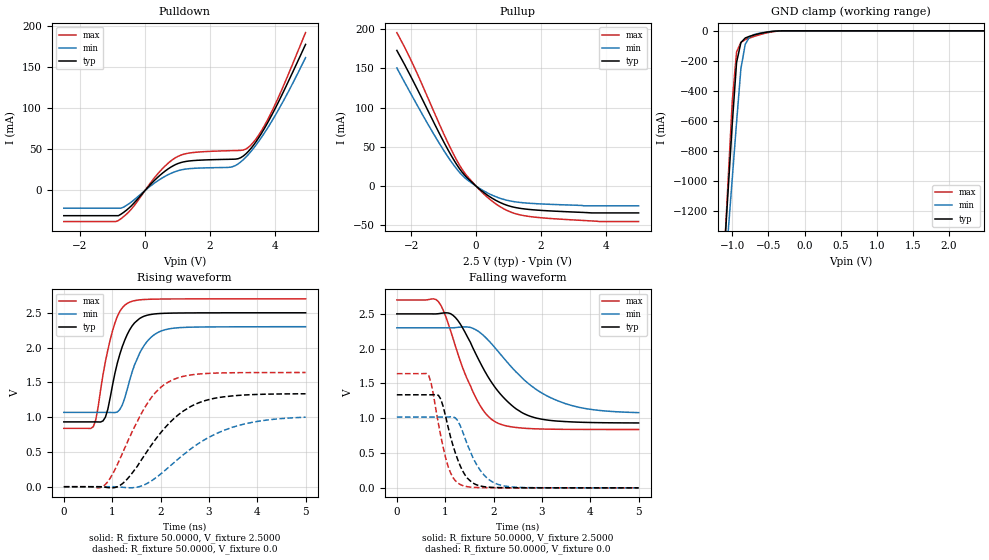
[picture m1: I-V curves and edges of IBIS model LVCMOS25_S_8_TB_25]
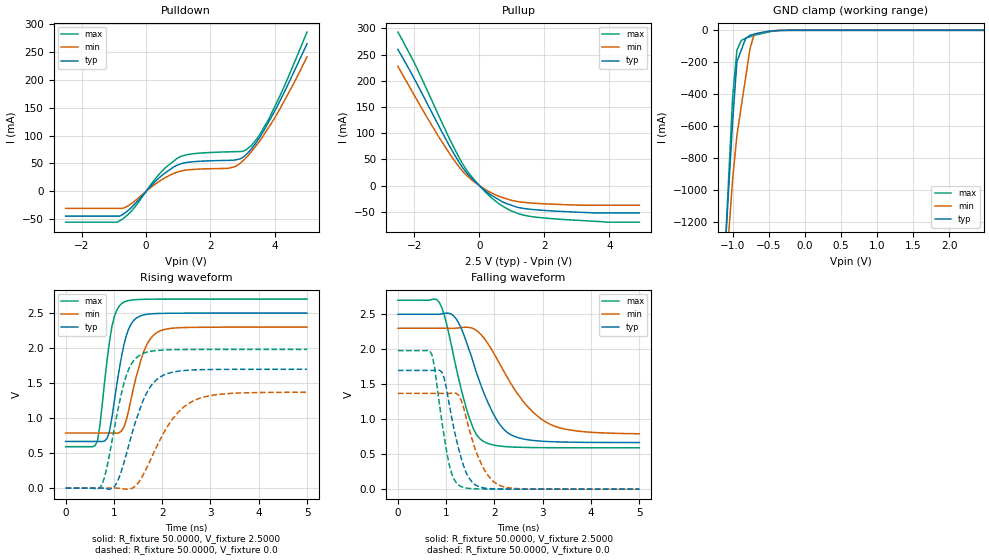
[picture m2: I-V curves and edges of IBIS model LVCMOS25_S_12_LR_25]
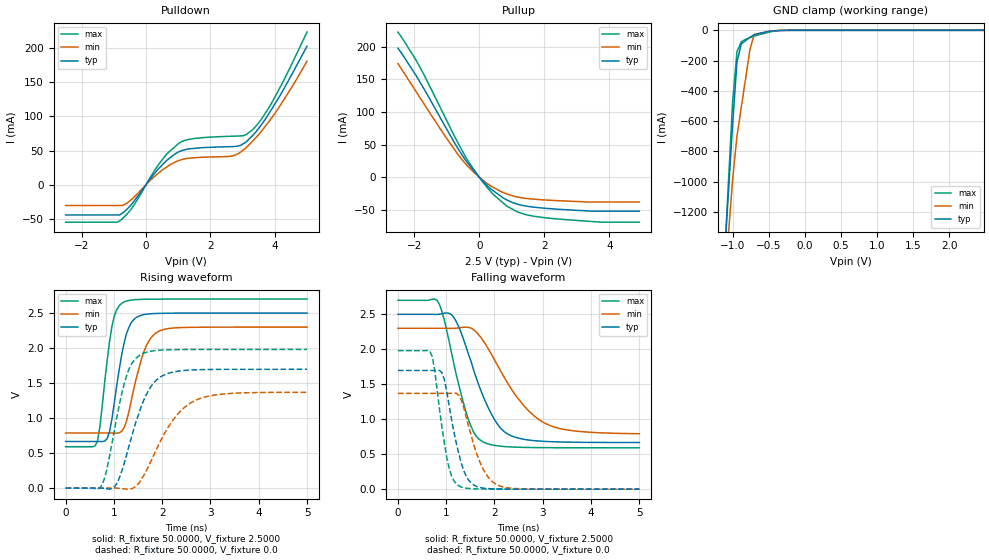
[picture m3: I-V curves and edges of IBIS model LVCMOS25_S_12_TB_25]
| / 7\'7
| \ \   Xilinx Inc.
| / /
| \_\/.\   IBIS Models for SPARTAN-6
[IBIS ver]   4.2
[File name]   LearningNetwork.ibs
[File Rev]   1.3
[Date]   Thu March 09 19:47:08 2017
[Source]   Derived from spice models, rev0.21, using
   hspice 2007.12
[Notes]   Xilinx IBIS file for SPARTAN-6 I/O standards.
   All models are preliminary.
   The version of IBISCHK used is ibischk4.
   Ibis models were generated using S2IBIS3.
[Disclaimer] The data in this file is derived from SPICE simulations using
                 modeling information extracted from the target process. While
                 a great deal of care has been taken to provide information
                 that is accurate, this model is considered preliminary as it
                 has not been verified by actual silicon measurement. Treat the
                 data in this model as preliminary until actual silicon
                 verification is performed.
[Copyright]   Copyright 2009, 2010, Xilinx Inc., All rights reserved
|   Component SPARTAN-6
[Component]   SPARTAN-6
[Manufacturer]   Xilinx Inc.
[Package]
|WARNING:PostProcessors - IBIS [Package] Section data is not currently
|available for tqg144. Please use XilinxUpdate utility to check
|availability of updated models. Using default package data:
|DEFAULT
|variable   typ   min   max
R_pkg   300.00m   300.00m   300.00m
L_pkg   4.00nH   4.00nH   4.00nH
C_pkg   2.00pF   2.00pF   2.00pF
[Pin]  signal_name   model_name
P21   clk   LVCMOS25_S_12_LR_25
P56   Input<0>   LVCMOS25_S_12_TB_25
P55   Input<1>   LVCMOS25_S_12_TB_25
P43   corrOut<0>   LVCMOS25_S_12_TB_25
P41   corrOut<1>   LVCMOS25_S_12_TB_25
P40   corrOut<2>   LVCMOS25_S_12_TB_25
P39   corrOut<3>   LVCMOS25_S_12_TB_25
P38   corrOut<4>   LVCMOS25_S_12_TB_25
P51   update   LVCMOS25_S_12_TB_25
P57   Output<0>   LVCMOS25_S_12_TB_25
P58   Output<1>   LVCMOS25_S_12_TB_25
P59   Output<2>   LVCMOS25_S_12_TB_25
P61   Output<3>   LVCMOS25_S_12_TB_25
P62   Output<4>   LVCMOS25_S_12_TB_25
P144   HSWAPEN   LVCMOS25_S_8_TB_25
P143   IO_L1N_VREF_0   NC
P142   IO_L2P_0   NC
P141   IO_L2N_0   NC
P140   IO_L3P_0   NC
P139   IO_L3N_0   NC
P138   IO_L4P_0   NC
P137   IO_L4N_0   NC
P134   GCLK19   NC
P133   GCLK18   NC
P132   GCLK17   NC
P131   GCLK16   NC
P127   GCLK15   NC
P126   GCLK14   NC
P124   GCLK13   NC
P123   GCLK12   NC
P121   IO_L62P_0   NC
P120   IO_L62N_VREF_0   NC
P119   SCP7   LVCMOS25_S_8_TB_25
P118   SCP6   LVCMOS25_S_8_TB_25
P117   SCP5   LVCMOS25_S_8_TB_25
P116   SCP4   LVCMOS25_S_8_TB_25
P115   SCP3   LVCMOS25_S_8_TB_25
P114   SCP2   LVCMOS25_S_8_TB_25
P112   SCP1   LVCMOS25_S_8_TB_25
P111   SCP0   LVCMOS25_S_8_TB_25
P105   IO_L1P_1   NC
P104   IO_L1N_VREF_1   NC
P102   IO_L32P_1   NC
P101   IO_L32N_1   NC
P100   IO_L33P_1   NC
P99   IO_L33N_1   NC
P98   IO_L34P_1   NC
P97   IO_L34N_1   NC
P95   GCLK11   NC
P94   GCLK10   NC
P93   GCLK9_IRDY1   NC
P92   GCLK8   NC
P88   GCLK7   NC
P87   GCLK6_TRDY1   NC
P85   GCLK5   NC
P84   GCLK4   NC
P83   IO_L45P_1   NC
P82   IO_L45N_1   NC
P81   IO_L46P_1   NC
P80   IO_L46N_1   NC
P79   IO_L47P_1   NC
P78   IO_L47N_1   NC
P75   AWAKE   LVCMOS25_S_8_TB_25
P74   DOUT_BUSY   LVCMOS25_S_8_TB_25
P70   CCLK   LVCMOS25_S_8_TB_25
P69   M0_CMPMISO   NC
P67   CMPCLK   NC
P66   CMPMOSI   NC
P65   D0_DIN_MISO_MISO1   LVCMOS25_S_8_TB_25
P64   MOSI_CSI_B_MISO0   LVCMOS25_S_8_TB_25
P60   M1   LVCMOS25_S_8_TB_25
P50   GCLK30_D15   NC
P48   D7   LVCMOS25_S_8_TB_25
P47   RDWR_B   LVCMOS25_S_8_TB_25
P46   D3   LVCMOS25_S_8_TB_25
P45   D4   LVCMOS25_S_8_TB_25
P44   D5   LVCMOS25_S_8_TB_25
P35   IO_L1P_3   NC
P34   IO_L1N_VREF_3   NC
P33   IO_L2P_3   NC
P32   IO_L2N_3   NC
P30   IO_L36P_3   NC
P29   IO_L36N_3   NC
P27   IO_L37P_3   NC
P26   IO_L37N_3   NC
P24   GCLK27   NC
P23   GCLK26   NC
P22   GCLK25_TRDY2   NC
P17   GCLK23   NC
P16   GCLK22_IRDY2   NC
P15   GCLK21   NC
P14   GCLK20   NC
P12   IO_L49P_3   NC
P11   IO_L49N_3   NC
P10   IO_L50P_3   NC
P9   IO_L50N_3   NC
P8   IO_L51P_3   NC
P7   IO_L51N_3   NC
P6   IO_L52P_3   NC
P5   IO_L52N_3   NC
P2   IO_L83P_3   NC
P1   IO_L83N_VREF_3   NC
P109   TCK   LVCMOS25_S_8_TB_25
P110   TDI   LVCMOS25_S_8_TB_25
P107   TMS   LVCMOS25_S_8_TB_25
P106   TDO   LVCMOS25_S_8_TB_25
P73   SUSPEND   LVCMOS25_S_8_TB_25
P72   CMPCS_B_2   NC
P71   DONE_2   LVCMOS25_S_8_TB_25
P37   PROGRAM_B_2   LVCMOS25_S_8_TB_25
P108   GND   GND
P113   GND   GND
P13   GND   GND
P130   GND   GND
P136   GND   GND
P25   GND   GND
P3   GND   GND
P49   GND   GND
P54   GND   GND
P68   GND   GND
P77   GND   GND
P91   GND   GND
P96   GND   GND
P122   VCCO_0   POWER
P125   VCCO_0   POWER
P135   VCCO_0   POWER
P129   VCCAUX   POWER
P20   VCCAUX   POWER
P36   VCCAUX   POWER
P53   VCCAUX   POWER
P90   VCCAUX   POWER
P128   VCCINT   POWER
P19   VCCINT   POWER
P28   VCCINT   POWER
P52   VCCINT   POWER
P89   VCCINT   POWER
P103   VCCO_1   POWER
P76   VCCO_1   POWER
P86   VCCO_1   POWER
P42   VCCO_2   POWER
P63   VCCO_2   POWER
P18   VCCO_3   POWER
P31   VCCO_3   POWER
P4   VCCO_3   POWER
[Diff Pin]   inv_Pin   vdiff   tdelay_typ   tdelay_min   tdelay_max
[Series Pin Mapping] pin_2   model_name   function_table_group
| Models and submodels in the file (3): LVCMOS25_S_8_TB_25 (I/O), LVCMOS25_S_12_LR_25 (I/O), LVCMOS25_S_12_TB_25 (I/O)
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|   Model LVCMOS25_S_8_TB_25
[Model]  LVCMOS25_S_8_TB_25
Model_type I/O
Polarity   Non-Inverting
Enable   Active-Low
Vinl =   0.7000V
Vinh =   1.7000V
Vmeas =  1.2500V
Cref =   0.0F
Rref =   1.0000M
Vref =   0.0V
C_comp   5.71pF   5.63pF   6.21pF
|C_comp   6.33pF   6.15pF   6.69pF
[Temperature Range]   25.0000   85.0000   0.0
[Voltage Range]   2.5000V   2.3000V   2.7000V
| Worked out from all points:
|   slope of the pulldown table from 0 to 0.375 V, typ, clamps not added: 24.2 ohm
|   slope of the pullup table from 0 to 0.375 V, typ, clamps not added: 30.7 ohm
|   GND clamp passes 1 mA (typ) near -0.36 V on its own axis
|   rising waveform, R_fixture 50.0000, V_fixture 2.5000: 20-80 % time 362ps typ, 409ps min, 322ps max; typ from 0.931 V to 2.5 V
|   rising waveform, R_fixture 50.0000, V_fixture 0.0: 20-80 % time 942ps typ, 1.24ns min, 734ps max; typ from 0 V to 1.33 V
|   falling waveform, R_fixture 50.0000, V_fixture 2.5000: 20-80 % time 833ps typ, 1.12ns min, 621ps max; typ from 2.5 V to 0.933 V
|   falling waveform, R_fixture 50.0000, V_fixture 0.0: 20-80 % time 351ps typ, 422ps min, 289ps max; typ from 1.34 V to 0 V
[Pulldown]
|Voltage   I(typ)   I(min)   I(max)
-2.5V     -30.64mA   -21.51mA   -37.78mA
-820mV    -30.64mA   -21.51mA   -36.55mA
-420mV    -18.59mA   -14mA      -22.63mA
460mV     18.52mA    13.55mA    23.33mA
940mV     31.53mA    23.09mA    39.91mA
1.42V     36.13mA    26.73mA    45.87mA
2.7V      38.02mA    29mA       48.49mA
2.94V     39.81mA    34.59mA    48.76mA
3.18V     47.57mA    43.81mA    52.45mA
3.5V      64.29mA    59.86mA    67.49mA
3.9V      91.72mA    84.21mA    95.98mA
4.94V     177.6mA    161.6mA    192mA
[Pullup]
|Voltage   I(typ)   I(min)   I(max)
-2.44V    172.6mA    150.3mA    195.3mA
-1.96V    135.5mA    113.9mA    156.3mA
-1.24V    75.9mA     61.76mA    89.13mA
-840mV    44.34mA    35.65mA    52.72mA
-520mV    22.73mA    18.02mA    27.39mA
-360mV    14.24mA    11.16mA    17.17mA
-40mV     1.494mA    1.131mA    1.826mA
520mV     -16mA      -11.94mA   -19.94mA
1.08V     -25.92mA   -19.07mA   -33.17mA
1.64V     -29.63mA   -21.74mA   -38.56mA
3.8V      -34mA      -25mA      -45mA
5V        -34mA      -25mA      -45mA
[GND_clamp]
|Voltage   I(typ)   I(min)   I(max)
-2.5V     -12.34A    -10.45A    -14.37A
-1.12V    -1.552A    -1.737A    -1.574A
-1.06V    -1.086A    -1.36A     -1.022A
-1V       -620.4mA   -984.2mA   -471mA
-940mV    -209.6mA   -607.7mA   -140.9mA
-880mV    -78.13mA   -250.8mA   -75.95mA
-820mV    -47.69mA   -89.21mA   -58.81mA
-760mV    -36.14mA   -40.83mA   -47.69mA
-700mV    -27.77mA   -25.02mA   -37.69mA
-520mV    -8.687mA   -7.489mA   -13.24mA
-400mV    -1.765mA   -1.693mA   -3.422mA
2.48V     29.1nA     237.4nA    26.83nA
[POWER_clamp]
|Voltage   I(typ)   I(min)   I(max)
-2.49V    0A         0A         0A
-2.46V    0A         0A         0A
-2.43V    0A         0A         0A
0V        0A         0A         0A
[Ramp]
| variable   typ   min   max
dV/dt_r  0.8010/0.9444n   0.5992/1.2397n   0.9846/0.7328n
dV/dt_f  0.9404/0.8324n   0.7314/1.1195n   1.1169/0.6193n
R_load = 50.0000
[Rising Waveform]
R_fixture= 50.0000
V_fixture= 2.5000
V_fixture_min= 2.3000
V_fixture_max= 2.7000
|time   V(typ)   V(min)   V(max)
0s        931.4mV    1.068V     838.4mV
610ps     931.3mV    1.068V     862.4mV
710ps     930.5mV    1.068V     1.145V
860ps     998.4mV    1.068V     1.796V
1.06ns    1.638V     1.065V     2.359V
1.21ns    2.014V     1.175V     2.571V
1.31ns    2.184V     1.395V     2.633V
1.62ns    2.438V     1.984V     2.688V
2.02ns    2.49V      2.239V     2.697V
5ns       2.499V     2.299V     2.699V
[Rising Waveform]
R_fixture= 50.0000
V_fixture= 0.0
|time   V(typ)   V(min)   V(max)
0s        4.876uV    41.92uV    4.581uV
710ps     359.4uV    -14.06uV   -16.1mV
860ps     -8.032mV   -33.9uV    31.75mV
1.21ns    42.43mV    -8.289mV   475.7mV
1.72ns    505.3mV    46.25mV    1.188V
1.97ns    746.1mV    164mV      1.406V
2.22ns    940.8mV    310.7mV    1.525V
2.78ns    1.203V     618.4mV    1.618V
3.48ns    1.304V     852.8mV    1.637V
5ns       1.335V     998.3mV    1.641V
[Falling Waveform]
R_fixture= 50.0000
V_fixture= 2.5000
V_fixture_min= 2.3000
V_fixture_max= 2.7000
|time   V(typ)   V(min)   V(max)
0s        2.5V       2.3V       2.7V
860ps     2.503V     2.3V       2.675V
1.21ns    2.448V     2.302V     2.04V
1.62ns    1.943V     2.277V     1.314V
1.82ns    1.675V     2.172V     1.082V
2.07ns    1.409V     1.981V     936mV
2.58ns    1.084V     1.586V     859.6mV
3.23ns    964.7mV    1.28V      842.4mV
3.94ns    940mV      1.135V     839.2mV
5ns       932.7mV    1.081V     838.5mV
[Falling Waveform]
R_fixture= 50.0000
V_fixture= 0.0
|time   V(typ)   V(min)   V(max)
0s        1.337V     1.017V     1.641V
660ps     1.337V     1.017V     1.613V
710ps     1.337V     1.017V     1.503V
910ps     1.273V     1.017V     741mV
1.06ns    874.2mV    1.018V     308.4mV
1.31ns    317.9mV    895.9mV    48.29mV
1.46ns    138.5mV    618.3mV    16.35mV
1.67ns    38.15mV    310.7mV    4.598mV
2.07ns    4.335mV    55.45mV    1.049mV
5ns       39.64uV    265.7uV    63.68uV
|   Model LVCMOS25_S_12_LR_25
[Model]  LVCMOS25_S_12_LR_25
Model_type I/O
Polarity   Non-Inverting
Enable   Active-Low
Vinl =   0.7000V
Vinh =   1.7000V
Vmeas =  1.2500V
Cref =   0.0F
Rref =   1.0000M
Vref =   0.0V
C_comp   6.08pF   5.79pF   6.38pF
|C_comp  6.55pF   6.18pF   6.90pF
[Temperature Range]   25.0000   85.0000   0.0
[Voltage Range]   2.5000V   2.3000V   2.7000V
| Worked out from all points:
|   slope of the pulldown table from 0 to 0.375 V, typ, clamps not added: 16.6 ohm
|   slope of the pullup table from 0 to 0.375 V, typ, clamps not added: 20.1 ohm
|   GND clamp passes 1 mA (typ) near -0.36 V on its own axis
|   rising waveform, R_fixture 50.0000, V_fixture 2.5000: 20-80 % time 276ps typ, 349ps min, 223ps max; typ from 0.666 V to 2.5 V
|   rising waveform, R_fixture 50.0000, V_fixture 0.0: 20-80 % time 481ps typ, 680ps min, 362ps max; typ from 0 V to 1.7 V
|   falling waveform, R_fixture 50.0000, V_fixture 2.5000: 20-80 % time 609ps typ, 873ps min, 446ps max; typ from 2.5 V to 0.667 V
|   falling waveform, R_fixture 50.0000, V_fixture 0.0: 20-80 % time 331ps typ, 407ps min, 259ps max; typ from 1.7 V to 0 V
[Pulldown]
|Voltage   I(typ)   I(min)   I(max)
-2.5V     -44.43mA   -30.59mA   -55.28mA
-900mV    -44.43mA   -30.59mA   -55.28mA
-580mV    -35.44mA   -26.77mA   -42.61mA
380mV     22.86mA    16.77mA    28.9mA
1.02V     48.11mA    35.39mA    60.97mA
1.5V      53.18mA    39.34mA    67.65mA
2.7V      55.72mA    43.23mA    71mA
2.94V     58.51mA    51.08mA    71.41mA
3.26V     75.35mA    70.41mA    81.48mA
3.82V     125.5mA    115.4mA    130.4mA
4.3V      178.5mA    162.8mA    189.2mA
5V        264.3mA    241mA      285.4mA
[Pullup]
|Voltage   I(typ)   I(min)   I(max)
-2.5V     259.9mA    227.5mA    293mA
-1.96V    199.6mA    168.3mA    229.6mA
-1.24V    113.4mA    92.34mA    132.5mA
-600mV    42.51mA    33.89mA    50.98mA
-360mV    22.15mA    17.82mA    26.54mA
-200mV    11.78mA    9.057mA    14.22mA
200mV     -10.68mA   -8.05mA    -13.2mA
520mV     -24mA      -18.43mA   -30.67mA
1V        -37.92mA   -28.41mA   -48.92mA
1.64V     -45.78mA   -33.58mA   -59.59mA
3.88V     -52.2mA    -37.7mA    -70mA
4.92V     -52.2mA    -37.7mA    -70mA
[GND_clamp]
|Voltage   I(typ)   I(min)   I(max)
-2.5V     -12.25A    -10.32A    -14.42A
-1.12V    -1.496A    -1.678A    -1.527A
-1.06V    -1.031A    -1.304A    -970.6mA
-1V       -567.8mA   -930.3mA   -416.8mA
-940mV    -195.1mA   -653.7mA   -122.6mA
-880mV    -123mA     -474.4mA   -63.59mA
-820mV    -50.86mA   -295.1mA   -49.17mA
-760mV    -31.12mA   -115.9mA   -39.69mA
-700mV    -23.47mA   -23.51mA   -31.16mA
-460mV    -3.911mA   -3.393mA   -6.645mA
-220mV    -13.59uA   -39.05uA   -47.32uA
2.48V     23.94nA    255.7nA    32.91nA
[POWER_clamp]
|Voltage   I(typ)   I(min)   I(max)
-2.49V    0A         0A         0A
-2.46V    0A         0A         0A
-2.43V    0A         0A         0A
0V        0A         0A         0A
[Ramp]
| variable   typ   min   max
dV/dt_r  1.0182/0.4791n   0.8208/0.6788n   1.1880/0.3594n
dV/dt_f  1.1000/0.6076n   0.9047/0.8725n   1.2650/0.4417n
R_load = 50.0000
[Rising Waveform]
R_fixture= 50.0000
V_fixture= 2.5000
V_fixture_min= 2.3000
V_fixture_max= 2.7000
|time   V(typ)   V(min)   V(max)
0s        666.2mV    786.8mV    591.5mV
660ps     666.2mV    786.7mV    675.6mV
860ps     712mV      786.7mV    1.832V
960ps     1.009V     786.6mV    2.308V
1.06ns    1.476V     784.2mV    2.541V
1.21ns    2.052V     875.9mV    2.656V
1.36ns    2.347V     1.282V     2.684V
1.62ns    2.474V     1.951V     2.695V
1.92ns    2.493V     2.232V     2.698V
5ns       2.499V     2.299V     2.699V
[Rising Waveform]
R_fixture= 50.0000
V_fixture= 0.0
|time   V(typ)   V(min)   V(max)
0s        0V         582.8nV    0V
760ps     -586.3uV   -4.371uV   60.49mV
1.01ns    20.98mV    546.9uV    854.3mV
1.21ns    367.1mV    -11.81mV   1.501V
1.36ns    742.6mV    -7.487mV   1.771V
1.57ns    1.19V      145.9mV    1.911V
1.92ns    1.568V     641.2mV    1.967V
2.27ns    1.663V     1.034V     1.977V
2.63ns    1.686V     1.24V      1.979V
5ns       1.697V     1.368V     1.98V
[Falling Waveform]
R_fixture= 50.0000
V_fixture= 2.5000
V_fixture_min= 2.3000
V_fixture_max= 2.7000
|time   V(typ)   V(min)   V(max)
0s        2.5V       2.3V       2.7V
860ps     2.5V       2.3V       2.667V
1.01ns    2.517V     2.3V       2.357V
1.26ns    2.372V     2.305V     1.572V
1.57ns    1.786V     2.291V     851.6mV
1.77ns    1.392V     2.17V      683.4mV
2.27ns    808mV      1.592V     606.3mV
3.03ns    683.5mV    974.8mV    593.5mV
3.64ns    671mV      837.6mV    592mV
5ns       666.6mV    792.2mV    591.6mV
[Falling Waveform]
R_fixture= 50.0000
V_fixture= 0.0
|time   V(typ)   V(min)   V(max)
0s        1.697V     1.369V     1.98V
710ps     1.697V     1.369V     1.911V
910ps     1.673V     1.369V     968.6mV
1.06ns    1.225V     1.369V     356.1mV
1.16ns    862.8mV    1.374V     143.4mV
1.31ns    444.2mV    1.27V      36.72mV
1.46ns    171.7mV    895.8mV    11.15mV
1.67ns    37.3mV     448.7mV    3.168mV
2.07ns    3.543mV    67.14mV    862.5uV
5ns       73.6uV     213.1uV    66.96uV
|   Model LVCMOS25_S_12_TB_25
[Model]  LVCMOS25_S_12_TB_25
Model_type I/O
Polarity   Non-Inverting
Enable   Active-Low
Vinl =   0.7000V
Vinh =   1.7000V
Vmeas =  1.2500V
Cref =   0.0F
Rref =   1.0000M
Vref =   0.0V
C_comp   5.71pF   5.63pF   6.21pF
|C_comp  6.33pF   6.15pF   6.69pF
[Temperature Range]   25.0000   85.0000   0.0
[Voltage Range]   2.5000V   2.3000V   2.7000V
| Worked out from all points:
|   slope of the pulldown table from 0 to 0.375 V, typ, clamps not added: 16.5 ohm
|   slope of the pullup table from 0 to 0.375 V, typ, clamps not added: 20 ohm
|   GND clamp passes 1 mA (typ) near -0.33 V on its own axis
|   rising waveform, R_fixture 50.0000, V_fixture 2.5000: 20-80 % time 265ps typ, 340ps min, 220ps max; typ from 0.666 V to 2.5 V
|   rising waveform, R_fixture 50.0000, V_fixture 0.0: 20-80 % time 482ps typ, 684ps min, 361ps max; typ from 0 V to 1.7 V
|   falling waveform, R_fixture 50.0000, V_fixture 2.5000: 20-80 % time 605ps typ, 869ps min, 442ps max; typ from 2.5 V to 0.667 V
|   falling waveform, R_fixture 50.0000, V_fixture 0.0: 20-80 % time 307ps typ, 385ps min, 248ps max; typ from 1.7 V to 0 V
[Pulldown]
|Voltage   I(typ)   I(min)   I(max)
-2.5V     -44.43mA   -30.59mA   -55.05mA
-900mV    -44.43mA   -30.59mA   -55.05mA
-500mV    -31.45mA   -23.75mA   -38.12mA
460mV     26.83mA    19.88mA    34.09mA
1.02V     48.18mA    35.39mA    60.76mA
1.5V      53.14mA    39.33mA    67.66mA
2.7V      55.71mA    42.34mA    71mA
2.94V     57.6mA     47.77mA    71.44mA
3.26V     69.79mA    61.33mA    78.64mA
3.58V     87.79mA    77.89mA    95.73mA
3.9V      110.5mA    97.75mA    119.5mA
5V        202.9mA    181mA      223.6mA
[Pullup]
|Voltage   I(typ)   I(min)   I(max)
-2.5V     197.7mA    174.1mA    222.3mA
-1.8V     143.9mA    120.1mA    166.3mA
-1.08V    80.52mA    65.08mA    94.6mA
-520mV    33.26mA    26.22mA    40.1mA
-280mV    16.69mA    12.89mA    20.11mA
200mV     -10.69mA   -8.015mA   -13.21mA
440mV     -21.2mA    -15.83mA   -26.8mA
840mV     -34.74mA   -25.44mA   -44.11mA
1.4V      -43.98mA   -32.28mA   -57.01mA
2.04V     -47.72mA   -35.02mA   -62.28mA
3.72V     -52.1mA    -38mA      -69mA
4.92V     -52.1mA    -38mA      -69mA
[GND_clamp]
|Voltage   I(typ)   I(min)   I(max)
-2.5V     -12.34A    -10.45A    -14.37A
-1.12V    -1.552A    -1.737A    -1.574A
-1.06V    -1.086A    -1.36A     -1.022A
-1V       -620.6mA   -984.2mA   -471.1mA
-940mV    -209.7mA   -700.3mA   -141mA
-880mV    -89.81mA   -509.1mA   -76mA
-760mV    -46.16mA   -126.7mA   -48.18mA
-700mV    -28.14mA   -27.89mA   -37.91mA
-460mV    -4.532mA   -4.163mA   -8.175mA
-280mV    -125.5uA   -168.6uA   -349.9uA
2.48V     28.85nA    239nA      28.24nA
[POWER_clamp]
|Voltage   I(typ)   I(min)   I(max)
-2.49V    0A         0A         0A
-2.46V    0A         0A         0A
-2.43V    0A         0A         0A
0V        0A         0A         0A
[Ramp]
| variable   typ   min   max
dV/dt_r  1.0182/0.4799n   0.8208/0.6827n   1.1880/0.3589n
dV/dt_f  1.1000/0.6041n   0.9045/0.8688n   1.2650/0.4401n
R_load = 50.0000
[Rising Waveform]
R_fixture= 50.0000
V_fixture= 2.5000
V_fixture_min= 2.3000
V_fixture_max= 2.7000
|time   V(typ)   V(min)   V(max)
0s        666.2mV    786.8mV    591.5mV
660ps     666.2mV    786.8mV    668.9mV
910ps     805.4mV    786.8mV    2.092V
1.01ns    1.226V     785.4mV    2.459V
1.16ns    1.896V     810.6mV    2.638V
1.26ns    2.201V     953.8mV    2.671V
1.41ns    2.405V     1.411V     2.689V
1.67ns    2.483V     2.03V      2.697V
1.92ns    2.494V     2.236V     2.698V
5ns       2.499V     2.299V     2.699V
[Rising Waveform]
R_fixture= 50.0000
V_fixture= 0.0
|time   V(typ)   V(min)   V(max)
0s        3.142uV    4.814uV    3.465uV
760ps     -594.4uV   -922.1nV   52.99mV
1.01ns    16.78mV    520.4uV    823.9mV
1.26ns    466.8mV    -13.92mV   1.598V
1.57ns    1.172V     125.2mV    1.911V
1.92ns    1.565V     609.3mV    1.968V
2.27ns    1.663V     1.013V     1.977V
2.63ns    1.687V     1.232V     1.979V
3.28ns    1.695V     1.344V     1.98V
5ns       1.697V     1.368V     1.98V
[Falling Waveform]
R_fixture= 50.0000
V_fixture= 2.5000
V_fixture_min= 2.3000
V_fixture_max= 2.7000
|time   V(typ)   V(min)   V(max)
0s        2.5V       2.3V       2.7V
860ps     2.501V     2.3V       2.64V
1.21ns    2.394V     2.302V     1.633V
1.46ns    1.933V     2.313V     991mV
1.72ns    1.405V     2.167V     694mV
1.97ns    1.031V     1.887V     630.2mV
2.22ns    812.5mV    1.577V     608.8mV
2.98ns    685.6mV    967.5mV    593.9mV
3.64ns    671.3mV    834.4mV    592.1mV
5ns       666.7mV    792.5mV    591.6mV
[Falling Waveform]
R_fixture= 50.0000
V_fixture= 0.0
|time   V(typ)   V(min)   V(max)
0s        1.697V     1.369V     1.98V
710ps     1.697V     1.369V     1.897V
910ps     1.666V     1.369V     894.4mV
1.01ns    1.403V     1.369V     464.1mV
1.11ns    998.5mV    1.371V     189.2mV
1.26ns    508.5mV    1.345V     48mV
1.46ns    132.8mV    906.3mV    10.12mV
1.72ns    20.37mV    352.6mV    2.453mV
2.07ns    3.132mV    57.91mV    828.5uV
5ns       58.69uV    196.6uV    20.91uV
